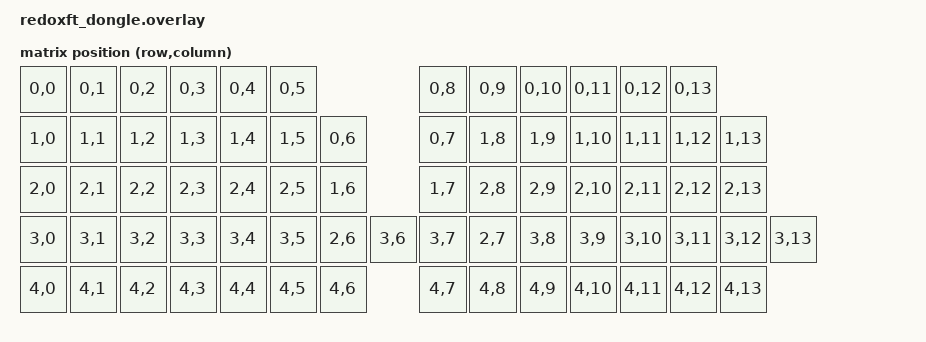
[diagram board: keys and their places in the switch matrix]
/*
 * Redox FT dongle shield
 * nice!nano v2 used as USB/BLE central, with no physical keys.
 * The two Redox FT halves connect to this dongle as BLE peripherals.
 */

#include <dt-bindings/zmk/matrix_transform.h>
#include <physical_layouts.dtsi>
/ {
    physical_layout0: physical_layout_0 {
        compatible = "zmk,physical-layout";
        display-name = "Redox FT Dongle";
        transform = <&default_transform>;
        keys
            = <&key_physical_attrs 0 0 100 100 0 0>
            ;
    };

    chosen {
        zmk,physical-layout = &physical_layout0;
    };

    default_transform: keymap_transform_0 {
        compatible = "zmk,matrix-transform";
        columns = <1>;
        rows = <1>;
        map = <
            RC(0,0)
        >;
    };

    kscan0: kscan_0 {
        compatible = "zmk,kscan-mock";
        columns = <1>;
        rows = <1>;
        events = <0>;
    };

    chosen {
        zmk,kscan = &kscan0;
        zmk,matrix-transform = &default_transform;
    };
};

/ {
    chosen {
        zmk,kscan = &mock_kscan;
        zmk,matrix_transform = &default_transform;
        zmk,physical-layout = &redoxft_physical_layout;
    };

    /*
     * Mock scanner: the dongle has no physical keys of its own.
     */
    mock_kscan: mock_kscan_0 {
        compatible = "zmk,kscan-mock";
        columns = <0>;
        rows = <0>;
        events = <0>;
    };

    /*
     * Official Redox 70-key transform copied for the dongle central.
     * This lets the central map incoming positions from both halves.
     */
    default_transform: keymap_transform_0 {
        compatible = "zmk,matrix-transform";
        columns = <14>;
        rows = <5>;
        map = <
            RC(0,0)  RC(0,1)  RC(0,2)  RC(0,3)  RC(0,4)  RC(0,5)              RC(0,8)  RC(0,9)  RC(0,10) RC(0,11) RC(0,12) RC(0,13)
            RC(1,0)  RC(1,1)  RC(1,2)  RC(1,3)  RC(1,4)  RC(1,5)  RC(0,6)    RC(0,7)  RC(1,8)  RC(1,9)  RC(1,10) RC(1,11) RC(1,12) RC(1,13)
            RC(2,0)  RC(2,1)  RC(2,2)  RC(2,3)  RC(2,4)  RC(2,5)  RC(1,6)    RC(1,7)  RC(2,8)  RC(2,9)  RC(2,10) RC(2,11) RC(2,12) RC(2,13)
            RC(3,0)  RC(3,1)  RC(3,2)  RC(3,3)  RC(3,4)  RC(3,5)  RC(2,6) RC(3,6) RC(3,7) RC(2,7) RC(3,8) RC(3,9) RC(3,10) RC(3,11) RC(3,12) RC(3,13)
            RC(4,0)  RC(4,1)  RC(4,2)  RC(4,3)  RC(4,4)  RC(4,5)  RC(4,6)    RC(4,7)  RC(4,8)  RC(4,9)  RC(4,10) RC(4,11) RC(4,12) RC(4,13)
        >;
    };

    /*
     * Bare physical layout for ZMK Studio. It uses the same transform.
     * This is enough for building and Studio connection. If you want the
     * exact visual key positions later, copy the full upstream redox layout.
     */
    redoxft_physical_layout: redoxft_physical_layout {
        compatible = "zmk,physical-layout";
        display-name = "Redox FT";
        transform = <&default_transform>;
    };
};
